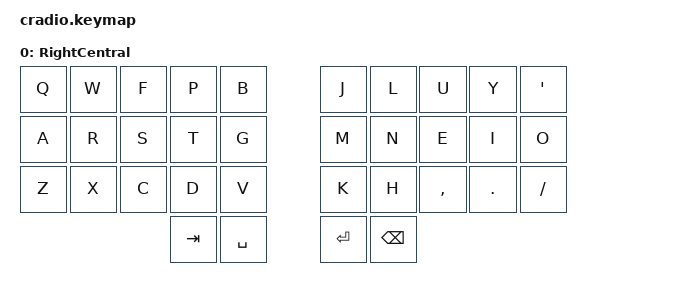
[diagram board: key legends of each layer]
#include <behaviors.dtsi>
#include <dt-bindings/zmk/keys.h>

/ {
    keymap {
        compatible = "zmk,keymap";
        default_layer {
            display-name = "RightCentral";
            bindings = <
                &kp Q &kp W &kp F &kp P &kp B   &kp J &kp L &kp U &kp Y &kp SQT
                &kp A &kp R &kp S &kp T &kp G   &kp M &kp N &kp E &kp I &kp O
                &kp Z &kp X &kp C &kp D &kp V   &kp K &kp H &kp COMMA &kp DOT &kp FSLH
                            &kp TAB &kp SPACE   &kp RET &kp BSPC
            >;
        };
    };
};
